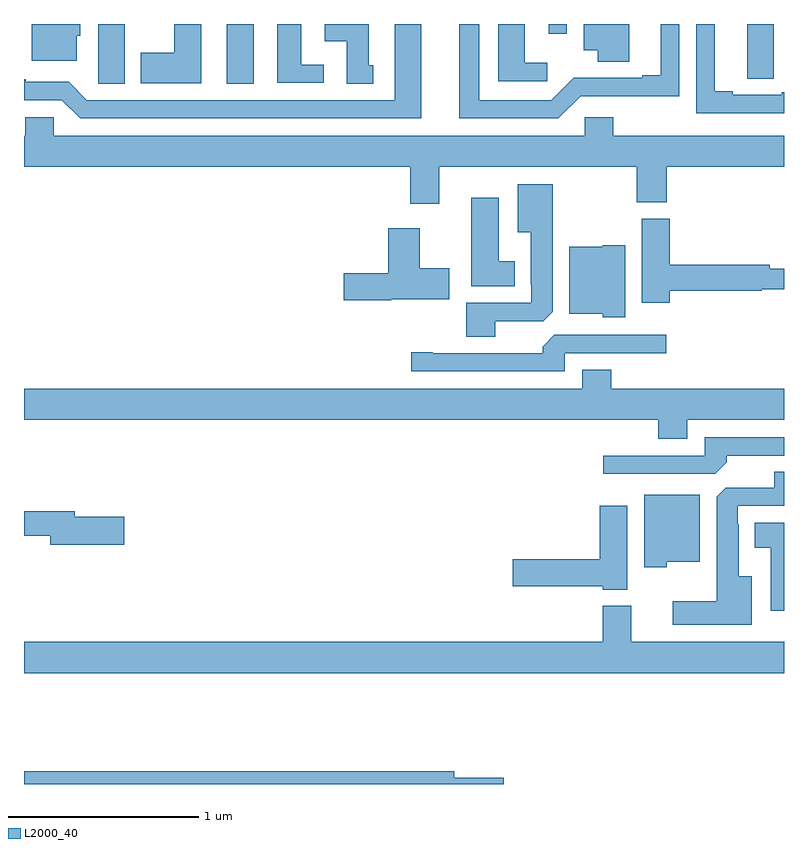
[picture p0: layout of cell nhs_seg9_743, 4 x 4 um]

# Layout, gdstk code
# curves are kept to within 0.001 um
import gdstk
lib = gdstk.Library(unit=1e-6, precision=1e-09)
def R(c, l, rs):  # rectangles x0, y0, x1, y1
    for r in rs: c.add(gdstk.rectangle(r[:2], r[2:], *l))
def P(c, l, *ps):  # polygons
    for p in ps: c.add(gdstk.Polygon(p, *l))
L2000_40 = (2000, 40)

nhs_seg9_743 = lib.new_cell('nhs_seg9_743')
R(nhs_seg9_743, L2000_40, [(150.068,1202.185,150.208,1202.5), (151.761,1202.448,151.857,1202.5)])
P(nhs_seg9_743, L2000_40, [(149.53,1202.5),(149.39,1202.5),(149.39,1202.296),(149.391,1202.296),(149.391,1202.185),(149.53,1202.185)],
  [(149.932,1202.5),(149.792,1202.5),(149.792,1202.349),(149.615,1202.349),(149.615,1202.189),(149.932,1202.189)],
  [(153,1202.142),(152.987,1202.142),(152.987,1202.127),(152.731,1202.127),(152.731,1202.147),(152.635,1202.147),(152.635,1202.5),(152.538,1202.5),(152.538,1202.031),(153,1202.031)],
  [(152.946,1202.32),(152.947,1202.32),(152.947,1202.5),(152.807,1202.5),(152.807,1202.212),(152.946,1202.212)],
  [(150.577,1202.286),(150.46,1202.286),(150.46,1202.5),(150.332,1202.5),(150.332,1202.19),(150.577,1202.19)],
  [(149.278,1202.439),(149.296,1202.439),(149.296,1202.5),(149.042,1202.5),(149.042,1202.306),(149.278,1202.306)],
  [(152.185,1202.5),(151.946,1202.5),(151.946,1202.363),(152.021,1202.363),(152.021,1202.302),(152.185,1202.302)],
  [(151.09,1202.5),(150.95,1202.5),(150.95,1202.1),(149.331,1202.1),(149.235,1202.196),(149.008,1202.196),(149.008,1202.209),(149,1202.209),(149,1202.1),(149.199,1202.1),(149.295,1202.004),(151.09,1202.004)],
  [(151.929,1202.121),(152.448,1202.12),(152.448,1202.5),(152.351,1202.5),(152.351,1202.23),(152.255,1202.23),(152.255,1202.217),(151.894,1202.218),(151.776,1202.1),(151.396,1202.1),(151.396,1202.5),(151.292,1202.5),(151.292,1202.004),(151.812,1202.004)],
  [(151.753,1202.296),(151.636,1202.296),(151.636,1202.5),(151.496,1202.5),(151.496,1202.199),(151.753,1202.199)],
  [(150.838,1202.283),(150.814,1202.283),(150.814,1202.5),(150.584,1202.5),(150.584,1202.408),(150.698,1202.408),(150.698,1202.185),(150.838,1202.185)],
  [(151.186,1201.748),(152.224,1201.748),(152.224,1201.561),(152.384,1201.561),(152.384,1201.748),(153,1201.748),(153,1201.912),(152.102,1201.912),(152.102,1202.01),(151.95,1202.01),(151.95,1201.912),(149.157,1201.912),(149.157,1202.01),(149.006,1202.01),(149.006,1201.912),(149,1201.912),(149,1201.748),(151.034,1201.748),(151.034,1201.554),(151.186,1201.554)],
  [(151.48,1200.936),(151.734,1200.936),(151.783,1200.985),(151.783,1201.657),(151.598,1201.657),(151.598,1201.403),(151.667,1201.403),(151.667,1201.129),(151.671,1201.129),(151.671,1201.032),(151.328,1201.032),(151.328,1200.853),(151.48,1200.853)],
  [(151.582,1201.252),(151.498,1201.252),(151.498,1201.585),(151.355,1201.585),(151.355,1201.121),(151.582,1201.121)],
  [(152.399,1201.096),(152.882,1201.096),(152.882,1201.104),(153,1201.104),(153,1201.213),(152.924,1201.213),(152.924,1201.232),(152.399,1201.232),(152.399,1201.476),(152.252,1201.476),(152.252,1201.032),(152.399,1201.032)],
  [(150.933,1201.052),(151.237,1201.052),(151.237,1201.215),(151.084,1201.215),(151.084,1201.426),(150.917,1201.426),(150.917,1201.187),(150.684,1201.187),(150.684,1201.045),(150.933,1201.045)],
  [(152.164,1201.336),(152.046,1201.336),(152.046,1201.327),(151.871,1201.327),(151.871,1200.974),(152.046,1200.974),(152.046,1200.956),(152.164,1200.956)],
  [(151.845,1200.768),(152.38,1200.768),(152.38,1200.864),(151.791,1200.864),(151.73,1200.802),(151.73,1200.768),(151.15,1200.768),(151.15,1200.773),(151.038,1200.773),(151.038,1200.672),(151.845,1200.672)],
  [(152.491,1200.416),(153,1200.416),(153,1200.58),(152.09,1200.58),(152.09,1200.679),(151.937,1200.679),(151.937,1200.58),(149,1200.58),(149,1200.416),(152.339,1200.416),(152.339,1200.317),(152.491,1200.317)],
  [(152.699,1200.194),(152.699,1200.228),(153,1200.228),(153,1200.324),(152.583,1200.324),(152.583,1200.228),(152.049,1200.228),(152.049,1200.132),(152.637,1200.132)],
  [(152.83,1199.593),(152.761,1199.593),(152.761,1199.867),(152.757,1199.867),(152.757,1199.964),(153,1199.964),(153,1200.143),(152.948,1200.143),(152.948,1200.06),(152.694,1200.06),(152.645,1200.011),(152.645,1199.461),(152.415,1199.461),(152.415,1199.339),(152.83,1199.339)],
  [(152.382,1199.669),(152.557,1199.669),(152.557,1200.022),(152.264,1200.022),(152.264,1199.642),(152.382,1199.642)],
  [(152.176,1199.965),(152.03,1199.965),(152.03,1199.684),(151.572,1199.684),(151.572,1199.542),(152.046,1199.542),(152.046,1199.522),(152.176,1199.522)],
  [(149.527,1199.906),(149.266,1199.906),(149.266,1199.935),(149,1199.935),(149,1199.806),(149.138,1199.806),(149.138,1199.759),(149.527,1199.759)],
  [(153,1199.875),(152.846,1199.875),(152.846,1199.744),(152.93,1199.744),(152.93,1199.412),(153,1199.412)],
  [(153,1199.248),(152.197,1199.248),(152.197,1199.437),(152.045,1199.437),(152.045,1199.248),(149,1199.248),(149,1199.084),(153,1199.084)],
  [(151.525,1198.532),(151.264,1198.532),(151.264,1198.568),(149,1198.568),(149,1198.5),(151.525,1198.5)])

lib.write_gds('nhs_seg9_743.gds')
